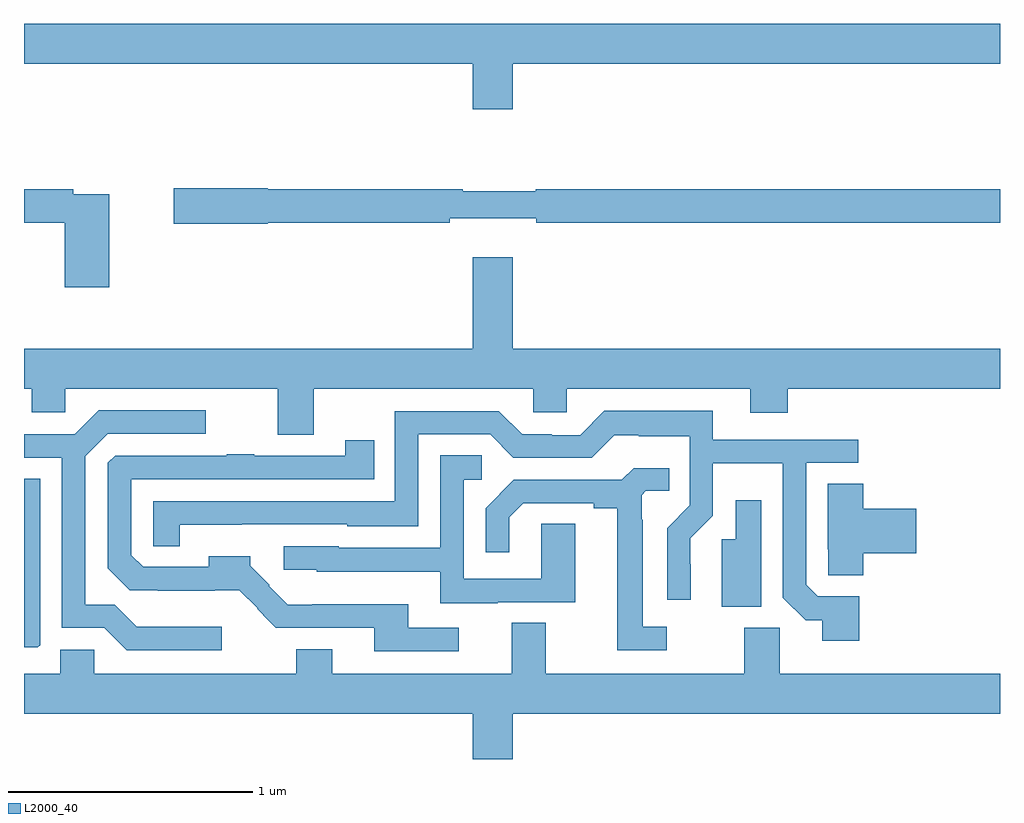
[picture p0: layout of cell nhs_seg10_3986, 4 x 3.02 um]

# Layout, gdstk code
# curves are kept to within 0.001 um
import gdstk
lib = gdstk.Library(unit=1e-6, precision=1e-09)
def P(c, l, *ps):  # polygons
    for p in ps: c.add(gdstk.Polygon(p, *l))
L2000_40 = (2000, 40)

nhs_seg10_3986 = lib.new_cell('nhs_seg10_3986')
P(nhs_seg10_3986, L2000_40, [(333.004,1277.672),(335,1277.672),(335,1277.836),(331,1277.836),(331,1277.672),(332.84,1277.672),(332.84,1277.484),(333.004,1277.484)],
  [(331.998,1277.02),(332.744,1277.02),(332.744,1277.039),(333.1,1277.039),(333.1,1277.02),(335,1277.02),(335,1277.156),(333.098,1277.156),(333.098,1277.149),(332.798,1277.149),(332.798,1277.156),(331.998,1277.156),(331.998,1277.162),(331.614,1277.162),(331.614,1277.015),(331.998,1277.015)],
  [(331.349,1277.136),(331.202,1277.136),(331.202,1277.156),(331,1277.156),(331,1277.02),(331.166,1277.02),(331.166,1276.755),(331.349,1276.755)],
  [(333.087,1276.242),(333.225,1276.242),(333.225,1276.34),(333.977,1276.34),(333.977,1276.241),(334.13,1276.241),(334.13,1276.34),(335,1276.34),(335,1276.504),(333.004,1276.504),(333.004,1276.879),(332.84,1276.879),(332.84,1276.504),(331,1276.504),(331,1276.34),(331.031,1276.34),(331.031,1276.242),(331.17,1276.242),(331.17,1276.34),(332.039,1276.34),(332.039,1276.15),(332.187,1276.15),(332.187,1276.34),(333.087,1276.34)],
  [(331.81,1275.364),(331.463,1275.364),(331.372,1275.455),(331.251,1275.455),(331.251,1276.062),(331.344,1276.155),(331.744,1276.155),(331.744,1276.251),(331.307,1276.251),(331.208,1276.152),(331,1276.152),(331,1276.056),(331.155,1276.056),(331.155,1275.36),(331.329,1275.36),(331.422,1275.267),(331.81,1275.267)],
  [(334.424,1275.489),(334.254,1275.489),(334.206,1275.537),(334.206,1276.035),(334.42,1276.035),(334.42,1276.131),(333.823,1276.131),(333.823,1276.249),(333.379,1276.249),(333.279,1276.149),(333.162,1276.149),(333.162,1276.152),(333.042,1276.152),(332.946,1276.248),(332.52,1276.248),(332.52,1275.879),(331.53,1275.879),(331.53,1275.694),(331.639,1275.694),(331.639,1275.782),(332.325,1275.783),(332.325,1275.776),(332.616,1275.776),(332.616,1276.152),(332.91,1276.152),(333.006,1276.056),(333.327,1276.056),(333.42,1276.149),(333.52,1276.149),(333.52,1276.145),(333.729,1276.145),(333.729,1275.861),(333.636,1275.768),(333.636,1275.474),(333.732,1275.474),(333.731,1275.726),(333.822,1275.818),(333.822,1276.034),(334.11,1276.034),(334.11,1275.483),(334.203,1275.391),(334.271,1275.391),(334.271,1275.306),(334.424,1275.306)],
  [(332.782,1275.36),(332.575,1275.36),(332.575,1275.457),(332.182,1275.457),(332.182,1275.455),(332.081,1275.455),(332.004,1275.531),(332.007,1275.534),(331.928,1275.613),(331.928,1275.652),(331.757,1275.652),(331.757,1275.609),(331.488,1275.609),(331.44,1275.657),(331.44,1275.969),(332.435,1275.969),(332.435,1276.129),(332.317,1276.129),(332.317,1276.065),(331.943,1276.065),(331.943,1276.07),(331.831,1276.07),(331.831,1276.065),(331.374,1276.065),(331.344,1276.035),(331.344,1275.603),(331.433,1275.514),(331.549,1275.514),(331.549,1275.512),(331.883,1275.513),(331.957,1275.439),(331.955,1275.437),(332.031,1275.36),(332.435,1275.36),(332.435,1275.264),(332.782,1275.264)],
  [(332.941,1275.465),(333.259,1275.465),(333.259,1275.785),(333.12,1275.785),(333.12,1275.561),(332.802,1275.561),(332.802,1275.966),(332.875,1275.966),(332.875,1276.067),(332.706,1276.067),(332.706,1275.687),(332.289,1275.687),(332.289,1275.693),(332.064,1275.693),(332.064,1275.597),(332.199,1275.597),(332.199,1275.59),(332.705,1275.59),(332.705,1275.461),(332.941,1275.461)],
  [(333.634,1275.363),(333.535,1275.363),(333.535,1275.803),(333.531,1275.803),(333.531,1275.903),(333.549,1275.921),(333.644,1275.921),(333.644,1276.013),(333.498,1276.013),(333.45,1275.966),(333.008,1275.966),(332.892,1275.85),(332.892,1275.669),(332.989,1275.669),(332.989,1275.813),(333.046,1275.87),(333.335,1275.87),(333.335,1275.85),(333.431,1275.85),(333.431,1275.267),(333.634,1275.267)],
  [(331.066,1275.289),(331.066,1275.971),(331,1275.971),(331,1275.279),(331.056,1275.279)],
  [(334.439,1275.665),(334.657,1275.665),(334.657,1275.848),(334.439,1275.848),(334.439,1275.95),(334.295,1275.95),(334.295,1275.682),(334.296,1275.682),(334.296,1275.574),(334.439,1275.574)],
  [(334.021,1275.883),(333.917,1275.883),(333.917,1275.723),(333.86,1275.723),(333.86,1275.445),(334.021,1275.445)],
  [(333.004,1275.008),(335,1275.008),(335,1275.172),(334.098,1275.172),(334.098,1275.36),(333.952,1275.36),(333.952,1275.172),(333.139,1275.172),(333.139,1275.38),(332.999,1275.38),(332.999,1275.172),(332.263,1275.172),(332.263,1275.271),(332.116,1275.271),(332.116,1275.172),(331.287,1275.172),(331.287,1275.27),(331.148,1275.27),(331.148,1275.172),(331,1275.172),(331,1275.008),(332.84,1275.008),(332.84,1274.82),(333.004,1274.82)])

lib.write_gds('nhs_seg10_3986.gds')
